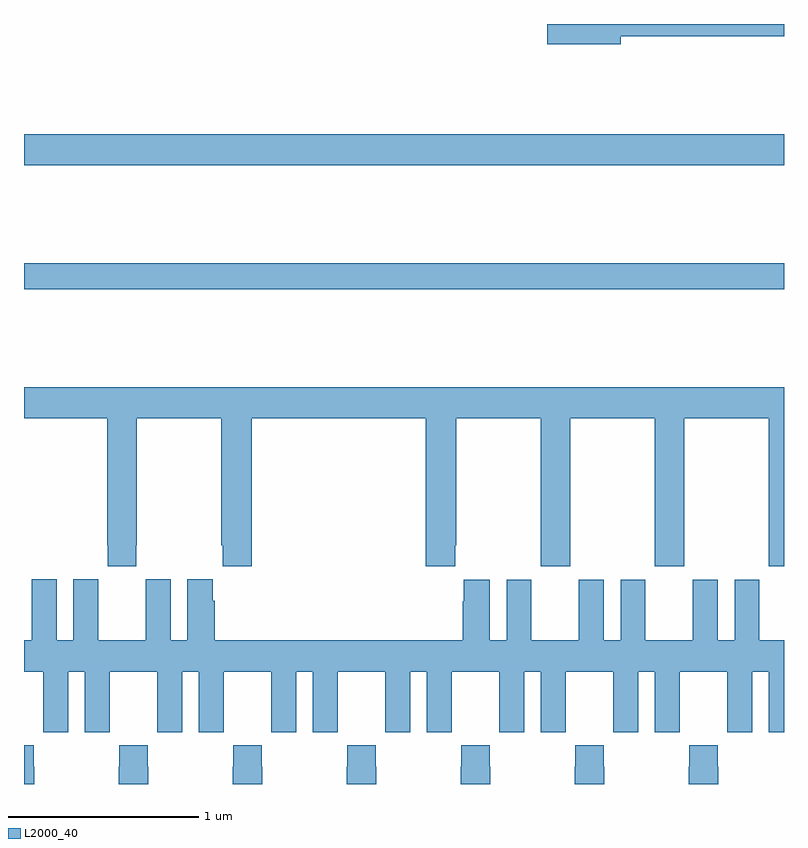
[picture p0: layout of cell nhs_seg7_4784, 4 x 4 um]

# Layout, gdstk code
import gdstk
lib = gdstk.Library(unit=1e-6, precision=1e-09)
def R(c, l, rs):  # rectangles x0, y0, x1, y1
    for r in rs: c.add(gdstk.rectangle(r[:2], r[2:], *l))
def P(c, l, *ps):  # polygons
    for p in ps: c.add(gdstk.Polygon(p, *l))
L2000_40 = (2000, 40)

nhs_seg7_4784 = lib.new_cell('nhs_seg7_4784')
R(nhs_seg7_4784, L2000_40, [(411,1026.604,415,1026.74), (411,1027.256,415,1027.42)])
P(nhs_seg7_4784, L2000_40, [(414.142,1027.936),(415,1027.936),(415,1028),(413.754,1028),(413.754,1027.894),(414.142,1027.894)],
  [(411.591,1025.257),(411.594,1025.257),(411.594,1025.924),(412.039,1025.924),(412.039,1025.257),(412.045,1025.257),(412.045,1025.145),(412.199,1025.145),(412.199,1025.924),(413.114,1025.924),(413.114,1025.145),(413.269,1025.145),(413.269,1025.257),(413.274,1025.257),(413.274,1025.924),(413.719,1025.924),(413.719,1025.145),(413.874,1025.145),(413.874,1025.924),(414.319,1025.924),(414.319,1025.145),(414.474,1025.145),(414.474,1025.924),(414.919,1025.924),(414.919,1025.145),(415,1025.145),(415,1026.088),(411,1026.088),(411,1025.924),(411.439,1025.924),(411.439,1025.257),(411.441,1025.257),(411.441,1025.145),(411.591,1025.145)],
  [(412.004,1024.964),(411.994,1024.964),(411.994,1025.077),(411.86,1025.077),(411.86,1024.756),(411.772,1024.756),(411.772,1025.077),(411.642,1025.077),(411.642,1024.964),(411.641,1024.964),(411.641,1024.756),(411.391,1024.756),(411.391,1024.964),(411.39,1024.964),(411.39,1025.077),(411.26,1025.077),(411.26,1024.756),(411.172,1024.756),(411.172,1025.077),(411.042,1025.077),(411.042,1024.964),(411.041,1024.964),(411.041,1024.756),(411,1024.756),(411,1024.592),(411.101,1024.592),(411.101,1024.384),(411.102,1024.384),(411.102,1024.272),(411.232,1024.272),(411.232,1024.592),(411.32,1024.592),(411.32,1024.272),(411.45,1024.272),(411.45,1024.384),(411.451,1024.384),(411.451,1024.592),(411.701,1024.592),(411.701,1024.384),(411.702,1024.384),(411.702,1024.272),(411.832,1024.272),(411.832,1024.592),(411.92,1024.592),(411.92,1024.272),(412.05,1024.272),(412.05,1024.384),(412.051,1024.384),(412.051,1024.592),(412.301,1024.592),(412.301,1024.384),(412.302,1024.384),(412.302,1024.272),(412.432,1024.272),(412.432,1024.592),(412.52,1024.592),(412.52,1024.272),(412.65,1024.272),(412.65,1024.384),(412.651,1024.384),(412.651,1024.592),(412.901,1024.592),(412.901,1024.384),(412.902,1024.384),(412.902,1024.272),(413.032,1024.272),(413.032,1024.592),(413.12,1024.592),(413.12,1024.272),(413.25,1024.272),(413.25,1024.384),(413.251,1024.384),(413.251,1024.592),(413.501,1024.592),(413.501,1024.384),(413.502,1024.384),(413.502,1024.272),(413.632,1024.272),(413.632,1024.592),(413.72,1024.592),(413.72,1024.272),(413.85,1024.272),(413.85,1024.384),(413.851,1024.384),(413.851,1024.592),(414.101,1024.592),(414.101,1024.384),(414.102,1024.384),(414.102,1024.272),(414.232,1024.272),(414.232,1024.592),(414.32,1024.592),(414.32,1024.272),(414.45,1024.272),(414.45,1024.384),(414.451,1024.384),(414.451,1024.592),(414.701,1024.592),(414.701,1024.384),(414.702,1024.384),(414.702,1024.272),(414.832,1024.272),(414.832,1024.592),(414.92,1024.592),(414.92,1024.272),(415,1024.272),(415,1024.756),(414.871,1024.756),(414.871,1025.074),(414.74,1025.074),(414.74,1024.756),(414.652,1024.756),(414.652,1025.074),(414.521,1025.074),(414.521,1024.756),(414.271,1024.756),(414.271,1025.074),(414.14,1025.074),(414.14,1024.756),(414.052,1024.756),(414.052,1025.074),(413.921,1025.074),(413.921,1024.756),(413.671,1024.756),(413.671,1025.074),(413.54,1025.074),(413.54,1024.756),(413.452,1024.756),(413.452,1025.074),(413.315,1025.074),(413.315,1024.961),(413.309,1024.961),(413.309,1024.756),(412.004,1024.756)],
  [(414.654,1024.091),(414.651,1024.091),(414.651,1024.204),(414.501,1024.204),(414.501,1024.091),(414.499,1024.091),(414.499,1024),(414.654,1024)],
  [(414.054,1024.091),(414.051,1024.091),(414.051,1024.204),(413.901,1024.204),(413.901,1024.091),(413.899,1024.091),(413.899,1024),(414.054,1024)],
  [(413.454,1024.091),(413.451,1024.091),(413.451,1024.204),(413.301,1024.204),(413.301,1024.091),(413.299,1024.091),(413.299,1024),(413.454,1024)],
  [(412.854,1024.091),(412.851,1024.091),(412.851,1024.204),(412.701,1024.204),(412.701,1024.091),(412.699,1024.091),(412.699,1024),(412.854,1024)],
  [(412.254,1024.091),(412.251,1024.091),(412.251,1024.204),(412.101,1024.204),(412.101,1024.091),(412.099,1024.091),(412.099,1024),(412.254,1024)],
  [(411.654,1024.091),(411.651,1024.091),(411.651,1024.204),(411.501,1024.204),(411.501,1024.091),(411.499,1024.091),(411.499,1024),(411.654,1024)],
  [(411.054,1024.091),(411.051,1024.091),(411.051,1024.204),(411,1024.204),(411,1024),(411.054,1024)])

lib.write_gds('nhs_seg7_4784.gds')
